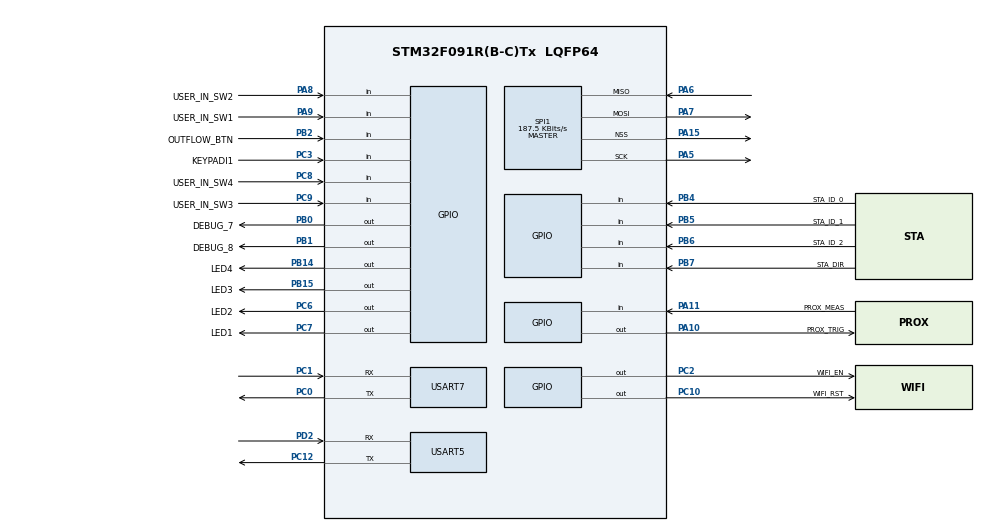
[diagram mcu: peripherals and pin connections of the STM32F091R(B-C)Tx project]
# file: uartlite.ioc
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Mcu.Family=STM32F0
Mcu.Name=STM32F091R(B-C)Tx
Mcu.Package=LQFP64
NVIC.TIM14_IRQn=true\:0\:0\:false\:false\:true\:true\:true\:true
NVIC.TIM2_IRQn=true\:0\:0\:false\:false\:true\:true\:true\:true
NVIC.TIM6_DAC_IRQn=true\:0\:0\:false\:false\:true\:true\:true\:true
NVIC.TIM7_IRQn=true\:0\:0\:false\:false\:true\:true\:true\:true
NVIC.USART3_8_IRQn=true\:0\:0\:false\:false\:true\:true\:true\:true
PA10.GPIO_Label=PROX_TRIG
PA10.Signal=GPIO_Output
PA11.GPIO_Label=PROX_MEAS
PA11.Signal=GPIO_Input
PA15.Mode=NSS_Signal_Hard_Output
PA15.Signal=SPI1_NSS
PA5.Mode=Full_Duplex_Master
PA5.Signal=SPI1_SCK
PA6.Mode=Full_Duplex_Master
PA6.Signal=SPI1_MISO
PA7.Mode=Full_Duplex_Master
PA7.Signal=SPI1_MOSI
PA8.GPIO_Label=USER_IN_SW2
PA8.Signal=GPIO_Input
PA9.GPIO_Label=USER_IN_SW1
PA9.Signal=GPIO_Input
PB0.GPIO_Label=DEBUG_7
PB0.Signal=GPIO_Output
PB1.GPIO_Label=DEBUG_8
PB1.Signal=GPIO_Output
PB14.GPIO_Label=LED4
PB14.Signal=GPIO_Output
PB15.GPIO_Label=LED3
PB15.Signal=GPIO_Output
PB2.GPIO_Label=OUTFLOW_BTN
PB2.Signal=GPIO_Input
PB4.GPIO_Label=STA_ID_0
PB4.GPIO_PuPd=GPIO_PULLDOWN
PB4.Signal=GPIO_Input
PB5.GPIO_Label=STA_ID_1
PB5.GPIO_PuPd=GPIO_PULLDOWN
PB5.Signal=GPIO_Input
PB6.GPIO_Label=STA_ID_2
PB6.GPIO_PuPd=GPIO_PULLDOWN
PB6.Signal=GPIO_Input
PB7.GPIO_Label=STA_DIR
PB7.GPIO_PuPd=GPIO_PULLDOWN
PB7.Signal=GPIO_Input
PC0.Mode=Asynchronous
PC0.Signal=USART7_TX
PC1.Mode=Asynchronous
PC1.Signal=USART7_RX
PC10.GPIO_Label=WIFI_RST
PC10.Signal=GPIO_Output
PC12.Mode=Asynchronous
PC12.Signal=USART5_TX
PC2.GPIO_Label=WIFI_EN
PC2.Signal=GPIO_Output
PC3.GPIO_Label=KEYPADI1
PC3.GPIO_PuPd=GPIO_PULLDOWN
PC3.Signal=GPIO_Input
PC6.GPIO_Label=LED2
PC6.Signal=GPIO_Output
PC7.GPIO_Label=LED1
PC7.Signal=GPIO_Output
PC8.GPIO_Label=USER_IN_SW4
PC8.Signal=GPIO_Input
PC9.GPIO_Label=USER_IN_SW3
PC9.Signal=GPIO_Input
PD2.Mode=Asynchronous
PD2.Signal=USART5_RX
ProjectManager.HeapSize=0x200
ProjectManager.StackSize=0x400
ProjectManager.TargetToolchain=STM32CubeIDE
RCC.AHBFreq_Value=48000000
RCC.APB1Freq_Value=48000000
RCC.APB1TimFreq_Value=48000000
RCC.HCLKFreq_Value=48000000
RCC.SYSCLKFreq_VALUE=48000000
RCC.SYSCLKSource=RCC_SYSCLKSOURCE_HSI48
SPI1.BaudRatePrescaler=SPI_BAUDRATEPRESCALER_256
SPI1.CalculateBaudRate=187.5 KBits/s
SPI1.DataSize=SPI_DATASIZE_10BIT
SPI1.Direction=SPI_DIRECTION_2LINES
SPI1.Mode=SPI_MODE_MASTER
SPI1.VirtualNSS=VM_NSSHARD
SPI1.VirtualType=VM_MASTER
TIM14.Period=999
TIM14.Prescaler=4799
TIM2.Period=4294967294
TIM2.Prescaler=47
TIM6.Period=999
TIM6.Prescaler=47
TIM7.Period=9999
TIM7.Prescaler=479
USART5.VirtualMode-Asynchronous=VM_ASYNC
USART7.VirtualMode=VM_ASYNC
VP_TIM14_VS_ClockSourceINT.Mode=Enable_Timer
VP_TIM2_VS_ClockSourceINT.Mode=Internal
VP_TIM6_VS_ClockSourceINT.Mode=Enable_Timer
VP_TIM7_VS_ClockSourceINT.Mode=Enable_Timer
board=custom

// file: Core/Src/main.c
/* USER CODE BEGIN Header */
/**
 ******************************************************************************
 * @file           : main.c
 * @brief          : Main program body
 ******************************************************************************
 * @attention
 *
 * Copyright (c) 2023 STMicroelectronics.
 * All rights reserved.
 *
 * This software is licensed under terms that can be found in the LICENSE file
 * in the root directory of this software component.
 * If no LICENSE file comes with this software, it is provided AS-IS.
 *
 ******************************************************************************
 */
/* USER CODE END Header */
#include "main.h"

/* USER CODE BEGIN Includes */
#include "ustimer.h"
#include "fifo.h"
#include "esp.h"
#include "string.h"
#include "uartstream.h"
#include "messages.h"
#include "asmutils.h"
#include "sonar.h"
#include "spidisp.h"
#include "keypadtimer.h"
#include "keypad.h"
#include "7segment.h"
/* USER CODE END Includes */

/* USER CODE BEGIN PTD */
fifo_t usart5_rx_fifo = { 0 };
fifo_t usart7_rx_fifo = { 0 };
volatile int uscounter = 0;
volatile uint8_t trigger_measurement_event = 0;
volatile uint16_t timeout_tenth_second_counter = 0;
volatile int rows = 0;
volatile uint8_t col = 0;
/* USER CODE END PTD */

/* USER CODE BEGIN PV */
char charbuff[1024] = { 0 };

/* USER CODE END PV */

void SystemClock_Config(void);
static void MX_GPIO_Init(void);
static void MX_USART5_UART_Init(void);
static void MX_SPI1_Init(void);
static void MX_TIM2_Init(void);
static void MX_TIM6_Init(void);
static void MX_TIM7_Init(void);
static void MX_USART7_UART_Init(void);
static void MX_TIM14_Init(void);

/* USER CODE BEGIN 0 */

int __io_putchar(int c) {
	while (!LL_USART_IsActiveFlag_TXE(USART5)) {
	}
	USART5->TDR = c;

	return c;
}

void sonar_demo() {
	sonar_init();
	while (1) {
		if (read_trigger_val() == SONAR_TRIGGERED) {
			spi_display2("Sonar Trig");
			nano_wait(500000000);
			spi_display2("          ");
		}
	}
}

void sonar_display_distance() {
	uint16_t distance;
	sonar_init();
	while (1) {
		if (trigger_measurement_event) {
			distance = sonar();
//			spi_display1("               ");
			sprintf(charbuff, "dist: %d\r\n", distance);
			writestring(charbuff, USART5);
			trigger_measurement_event = 0;
			nano_wait(200000000);
		}
	}
}

void esp_init_routine(esp_handle_t *esp_handle, int sta_id, int sister_mode) {
	sprintf(charbuff, "192.168.0.%d", sta_id + 2 + sister_mode);
	esp_setup_join("myap", "12345678", esp_handle, charbuff);
	writestring("Connect success!!\r\n", USART5);

	esp_init_udp_station("192.168.0.1", 8080, esp_handle, PTS_AM_UDP_LINK);
	if (sister_mode == 0) {
		esp_new_udp_listen(5000, esp_handle, PTS_SISTER_UDP_LINK);
	} else {
		sprintf(charbuff, "192.168.0.%d", sta_id + 2);
		esp_new_udp_station(charbuff, 5000, esp_handle, PTS_SISTER_UDP_LINK);
	}
}

void pipe_wifi_to_debug() {
	char c;
	LL_GPIO_ResetOutputPin(WIFI_EN_GPIO_Port, WIFI_EN_Pin);
	LL_GPIO_ResetOutputPin(WIFI_RST_GPIO_Port, WIFI_RST_Pin);
	LL_GPIO_ResetOutputPin(DEBUG_7_GPIO_Port, DEBUG_7_Pin);
	LL_GPIO_SetOutputPin(WIFI_EN_GPIO_Port, WIFI_EN_Pin);
	LL_GPIO_SetOutputPin(WIFI_RST_GPIO_Port, WIFI_RST_Pin);
	writestring("Testing 123\r\n", USART5);
	while (1) {
		if (USART5->ISR & USART_ISR_RXNE) {
			c = USART5->RDR;
			putcharusart(c, USART7);
//			putcharusart(c, USART5);
		}
		if (USART7->ISR & USART_ISR_RXNE) {
			putcharusart(USART7->RDR, USART5);
		}
	}
}

/* USER CODE END 0 */

int main(void) {

	/* MCU Configuration--------------------------------------------------------*/

	/* Reset of all peripherals, Initializes the Flash interface and the Systick. */
	LL_APB1_GRP2_EnableClock(LL_APB1_GRP2_PERIPH_SYSCFG);
	LL_APB1_GRP1_EnableClock(LL_APB1_GRP1_PERIPH_PWR);

	/* SysTick_IRQn interrupt configuration */
	NVIC_SetPriority(SysTick_IRQn, 3);

	/* Configure the system clock */
	SystemClock_Config();

	/* Initialize all configured peripherals */
	MX_GPIO_Init();
	MX_USART5_UART_Init();
	MX_SPI1_Init();
	MX_TIM2_Init();
	MX_TIM6_Init();
	MX_TIM7_Init();
	MX_USART7_UART_Init();
	MX_TIM14_Init();
	/* USER CODE BEGIN 2 */

	uint8_t station_id;
	uint8_t direction_switch_pos;

	esp_handle_t esp_handle;
	esp_handle.debug = USART5;
	esp_handle.fifo = &usart7_rx_fifo;
	esp_handle.usartx = USART7;
	message_t *espmsg;

	direction_switch_pos =
			LL_GPIO_IsInputPinSet(USER_IN_SW1_GPIO_Port, USER_IN_SW1_Pin) ?
					SWITCH_DIR_IN : SWITCH_DIR_OUT;
	station_id = (
			LL_GPIO_IsInputPinSet(USER_IN_SW2_GPIO_Port, USER_IN_SW2_Pin) ?
					0x4 : 0x0)
			| (LL_GPIO_IsInputPinSet(USER_IN_SW3_GPIO_Port, USER_IN_SW3_Pin) ?
					0x2 : 0x0)
			| (LL_GPIO_IsInputPinSet(USER_IN_SW4_GPIO_Port, USER_IN_SW4_Pin) ?
					0x1 : 0x0);
	sprintf(charbuff, "Station ID: %d, Dir: %d\r\n", station_id,
			direction_switch_pos);
	writestring(charbuff, USART5);
	station_id = 0;
	direction_switch_pos = 0;
	int str_length = 0;
//  	 NVIC_SetPriority(USART3_8_IRQn, 0);
//  	 NVIC_SetPriority(TIM7_IRQn, 1);
	LL_GPIO_ResetOutputPin(WIFI_EN_GPIO_Port, WIFI_EN_Pin);
	LL_GPIO_SetOutputPin(WIFI_EN_GPIO_Port, WIFI_EN_Pin);

//	LL_USART_EnableIT_RXNE(USART5);
	LL_USART_EnableIT_RXNE(USART7);
//
//	setup_esp(&esp_handle, "myap", "12345678", "192.168.0.1");
//	LL_USART_DisableIT_RXNE(USART7);
//	pipe_wifi_to_debug();

	LL_TIM_EnableIT_UPDATE(TIM7);
	LL_TIM_EnableIT_UPDATE(TIM14);

	int num_spots;
	int sonar_read;

#ifdef ESP_STA

//  while (1) {
//
//  		sprintf(charbuff, "Got distance: %d\r\n", sonar());
//  		writestring(charbuff, USART5);
//  		nano_wait(100000000);
//  	}
	//spi_init_oled();
	//spi_display1("Hello world");
//  spi_display2("Distance: ");
	//writestring("Bootup start!!\r\n", USART5);

//  sonar_demo();
//  sonar_display_distance();

	esp_init_routine(&esp_handle, 0, 0);

	//spi_display1("                    ");
	//spi_display1("Wifi Connected");
	espmsg = get_message();
	espmsg->module_id = 2;
	espmsg->command = API_PING;
	esp_send_data((char*) espmsg, sizeof(espmsg), &esp_handle, PTS_AM_UDP_LINK);
	writestring("Main: sent ping\r\n", USART5);

//
//	esp_send_data("hello world\r\n", sizeof("hello world\r\n"), &esp_handle, PTS_SISTER_UDP_LINK);
//	writestring("Main: sent to sister station\r\n", USART5);

	//writestring(
	//		"Pick P for ping, I for inflow, O for outflow, followed by <CR><LF>\r\n",
	//		USART5);
	sonar_init();
	//spi_display2("not triggered");
//    esp_send_data("Hello World\r\n", strlen("Hello World\r\n"),  &esp_handle, 0);
//    while (esp_debug_response( &esp_handle) != ESP_SEND_OK);
//    writestring("Send success!!\r\n", USART5);
#endif

	/* USER CODE END 2 */

	/* Infinite loop */
	/* USER CODE BEGIN WHILE */
	while (1) {

		if (LL_TIM_IsEnabledCounter(TIM14)) {
			if (timeout_tenth_second_counter > MAX_DELAY_SISTER_TRIGGER) {
				LL_TIM_DisableCounter(TIM14); // boo hoo, we timed out.
				writestring("Timed out on detection event\r\n", USART5);
			}
		}

		if (!fifo_empty(esp_handle.fifo)) {
			switch (esp_debug_response(&esp_handle)) {
			case ESP_DATA:
				espmsg = (message_t*) esp_incoming.buffer;
				//writestring("Main: Got ESP Data\r\n", USART5);
				//debug_message(espmsg, charbuff);
				//writestring(charbuff, USART5);

				switch (espmsg->command) {
				case API_CAR_DETECT:
					switch (espmsg->body.direction) {
					case API_DIRECTION_IN:
						num_spots--;
						num_spots = num_spots < 0 ? 0 : num_spots;
						break;
					case API_DIRECTION_OUT:
						num_spots++;
						break;
					default:
						break;
					}
					break;
				case API_PING:
					writestring("Got ping from station\r\n", USART5);
					break;
				case API_ACK:
					// stop and reset the timer

					LL_TIM_DisableCounter(TIM14);

					writestring("Got ack from station\r\n", USART5);
					break;
				case API_SISTER_TRIGGER:
					writestring("Got sister trigger from station\r\n", USART5);

					if (LL_TIM_IsEnabledCounter(TIM14)) {
						// is timer running? if so, check trigger status
						if (peek_trigger_val()) {
							// stop timer, reset timer, ack the trigger, transmit flow event
							LL_TIM_DisableCounter(TIM14);

							// ack the trigger
							espmsg->module_id = station_id;
							espmsg->command = API_ACK;
							esp_send_data((char*) espmsg, sizeof(espmsg),
									&esp_handle,
									PTS_SISTER_UDP_LINK);
							writestring("Main: acked the sister trigger\r\n",
							USART5);
							while (esp_debug_response(&esp_handle)
									!= ESP_SEND_OK)
								;

							// transmit flow event
							espmsg->module_id = station_id;
							espmsg->command = API_CAR_DETECT;
							espmsg->body.direction =
									direction_switch_pos == SWITCH_DIR_IN ?
											API_DIRECTION_IN :
											API_DIRECTION_OUT;
							esp_send_data((char*) espmsg, sizeof(espmsg),
									&esp_handle,
									PTS_AM_UDP_LINK);
							writestring("Main: sent flow event\r\n", USART5);
							while (esp_debug_response(&esp_handle)
									!= ESP_SEND_OK)
								;
							writestring("Send success!!\r\n", USART5);
						}
					}

					break;
				default:
					break;
				}

				break;
			case ESP_DISCONNECT:

				esp_init_routine(&esp_handle, 0, 0);

				break;
			default:
				break;
			}

		}

		if (trigger_measurement_event) {

			sonar_read = sonar();
			sprintf(charbuff, "Sonar triggered, dist: %d\r\n", sonar_read);
			writestring(charbuff, USART5);
			trigger_measurement_event = 0;
		}

		if (read_trigger_val() == SONAR_TRIGGERED) {
			timeout_tenth_second_counter = 0; // zero out the timeout
			LL_TIM_EnableCounter(TIM14); // enable counter

			espmsg->module_id = station_id;
			espmsg->command = API_SISTER_TRIGGER;
			espmsg->body.placement = API_PLACEMENT_REAR;

			esp_send_data((char*) espmsg, sizeof(espmsg), &esp_handle,
					PTS_SISTER_UDP_LINK);
			writestring("Main: sent detection to sister\r\n", USART5);
			while (esp_debug_response(&esp_handle) != ESP_SEND_OK)
				;
			writestring("Send success!!\r\n", USART5);

		}

		/* USER CODE END WHILE */

		/* USER CODE BEGIN 3 */

//	  esp_debug_response(&usart7_rx_fifo, USART5);
	}
	/* USER CODE END 3 */
}

void SystemClock_Config(void) {
	LL_FLASH_SetLatency(LL_FLASH_LATENCY_1);
	while (LL_FLASH_GetLatency() != LL_FLASH_LATENCY_1) {
	}
	LL_RCC_HSI48_Enable();

	/* Wait till HSI48 is ready */
	while (LL_RCC_HSI48_IsReady() != 1) {

	}
	LL_RCC_SetAHBPrescaler(LL_RCC_SYSCLK_DIV_1);
	LL_RCC_SetAPB1Prescaler(LL_RCC_APB1_DIV_1);
	LL_RCC_SetSysClkSource(LL_RCC_SYS_CLKSOURCE_HSI48);

	/* Wait till System clock is ready */
	while (LL_RCC_GetSysClkSource() != LL_RCC_SYS_CLKSOURCE_STATUS_HSI48) {

	}
	LL_Init1msTick(48000000);
	LL_SetSystemCoreClock(48000000);
}

static void MX_SPI1_Init(void) {

	LL_SPI_InitTypeDef SPI_InitStruct = { 0 };

	LL_GPIO_InitTypeDef GPIO_InitStruct = { 0 };

	/* Peripheral clock enable */
	LL_APB1_GRP2_EnableClock(LL_APB1_GRP2_PERIPH_SPI1);

	LL_AHB1_GRP1_EnableClock(LL_AHB1_GRP1_PERIPH_GPIOA);
	/**SPI1 GPIO Configuration
	 PA5   ------> SPI1_SCK
	 PA6   ------> SPI1_MISO
	 PA7   ------> SPI1_MOSI
	 PA15   ------> SPI1_NSS
	 */
	GPIO_InitStruct.Pin = LL_GPIO_PIN_5;
	GPIO_InitStruct.Mode = LL_GPIO_MODE_ALTERNATE;
	GPIO_InitStruct.Speed = LL_GPIO_SPEED_FREQ_HIGH;
	GPIO_InitStruct.OutputType = LL_GPIO_OUTPUT_PUSHPULL;
	GPIO_InitStruct.Pull = LL_GPIO_PULL_NO;
	GPIO_InitStruct.Alternate = LL_GPIO_AF_0;
	LL_GPIO_Init(GPIOA, &GPIO_InitStruct);

	GPIO_InitStruct.Pin = LL_GPIO_PIN_6;
	GPIO_InitStruct.Mode = LL_GPIO_MODE_ALTERNATE;
	GPIO_InitStruct.Speed = LL_GPIO_SPEED_FREQ_HIGH;
	GPIO_InitStruct.OutputType = LL_GPIO_OUTPUT_PUSHPULL;
	GPIO_InitStruct.Pull = LL_GPIO_PULL_NO;
	GPIO_InitStruct.Alternate = LL_GPIO_AF_0;
	LL_GPIO_Init(GPIOA, &GPIO_InitStruct);

	GPIO_InitStruct.Pin = LL_GPIO_PIN_7;
	GPIO_InitStruct.Mode = LL_GPIO_MODE_ALTERNATE;
	GPIO_InitStruct.Speed = LL_GPIO_SPEED_FREQ_HIGH;
	GPIO_InitStruct.OutputType = LL_GPIO_OUTPUT_PUSHPULL;
	GPIO_InitStruct.Pull = LL_GPIO_PULL_NO;
	GPIO_InitStruct.Alternate = LL_GPIO_AF_0;
	LL_GPIO_Init(GPIOA, &GPIO_InitStruct);

	GPIO_InitStruct.Pin = LL_GPIO_PIN_15;
	GPIO_InitStruct.Mode = LL_GPIO_MODE_ALTERNATE;
	GPIO_InitStruct.Speed = LL_GPIO_SPEED_FREQ_HIGH;
	GPIO_InitStruct.OutputType = LL_GPIO_OUTPUT_PUSHPULL;
	GPIO_InitStruct.Pull = LL_GPIO_PULL_NO;
	GPIO_InitStruct.Alternate = LL_GPIO_AF_0;
	LL_GPIO_Init(GPIOA, &GPIO_InitStruct);

	/* USER CODE BEGIN SPI1_Init 1 */
//
	/* USER CODE END SPI1_Init 1 */
	/* SPI1 parameter configuration*/
	SPI_InitStruct.TransferDirection = LL_SPI_FULL_DUPLEX;
	SPI_InitStruct.Mode = LL_SPI_MODE_MASTER;
	SPI_InitStruct.DataWidth = LL_SPI_DATAWIDTH_10BIT;
	SPI_InitStruct.ClockPolarity = LL_SPI_POLARITY_LOW;
	SPI_InitStruct.ClockPhase = LL_SPI_PHASE_1EDGE;
	SPI_InitStruct.NSS = LL_SPI_NSS_HARD_OUTPUT;
	SPI_InitStruct.BaudRate = LL_SPI_BAUDRATEPRESCALER_DIV256;
	SPI_InitStruct.BitOrder = LL_SPI_MSB_FIRST;
	SPI_InitStruct.CRCCalculation = LL_SPI_CRCCALCULATION_DISABLE;
	SPI_InitStruct.CRCPoly = 7;
	LL_SPI_Init(SPI1, &SPI_InitStruct);
	LL_SPI_SetStandard(SPI1, LL_SPI_PROTOCOL_MOTOROLA);
	LL_SPI_EnableNSSPulseMgt(SPI1);
	/* USER CODE BEGIN SPI1_Init 2 */
//	SPI1->CR1 &= ~SPI_CR1_SPE;
//	    RCC->AHBENR |= RCC_AHBENR_GPIOAEN;
//	    RCC->APB2ENR |= RCC_APB2ENR_SPI1EN;
//
//	    // set pins PA15,PA5,PA6,PA7 for NSS,SCK,MISO,MOSI
//	    GPIOA->MODER &= ~0xc000fc00;
//	    GPIOA->MODER |= 0x8000a800;
//
//	    GPIOA->AFR[0] &= ~0xfff00000;
//	    GPIOA->AFR[1] &= ~0xf0000000;
//	    SPI1->CR1 |= SPI_CR1_BR;
//
//	    SPI1->CR1 |= SPI_CR1_MSTR;
//
//	    SPI1->CR2 = SPI_CR2_SSOE | SPI_CR2_NSSP | SPI_CR2_DS_0 | SPI_CR2_DS_3;
	SPI1->CR1 |= SPI_CR1_SPE;

	/* USER CODE END SPI1_Init 2 */

}

static void MX_TIM2_Init(void) {

	LL_TIM_InitTypeDef TIM_InitStruct = { 0 };

	/* Peripheral clock enable */
	LL_APB1_GRP1_EnableClock(LL_APB1_GRP1_PERIPH_TIM2);

	/* TIM2 interrupt Init */
	NVIC_SetPriority(TIM2_IRQn, 0);
	NVIC_EnableIRQ(TIM2_IRQn);

	TIM_InitStruct.Prescaler = 47;
	TIM_InitStruct.CounterMode = LL_TIM_COUNTERMODE_UP;
	TIM_InitStruct.Autoreload = 4294967294;
	TIM_InitStruct.ClockDivision = LL_TIM_CLOCKDIVISION_DIV1;
	LL_TIM_Init(TIM2, &TIM_InitStruct);
	LL_TIM_DisableARRPreload(TIM2);
	LL_TIM_SetClockSource(TIM2, LL_TIM_CLOCKSOURCE_INTERNAL);
	LL_TIM_SetTriggerOutput(TIM2, LL_TIM_TRGO_RESET);
	LL_TIM_DisableMasterSlaveMode(TIM2);

}

static void MX_TIM6_Init(void) {

	LL_TIM_InitTypeDef TIM_InitStruct = { 0 };

	/* Peripheral clock enable */
	LL_APB1_GRP1_EnableClock(LL_APB1_GRP1_PERIPH_TIM6);

	/* TIM6 interrupt Init */
	NVIC_SetPriority(TIM6_DAC_IRQn, 0);
	NVIC_EnableIRQ(TIM6_DAC_IRQn);

	TIM_InitStruct.Prescaler = 47;
	TIM_InitStruct.CounterMode = LL_TIM_COUNTERMODE_UP;
	TIM_InitStruct.Autoreload = 999;
	LL_TIM_Init(TIM6, &TIM_InitStruct);
	LL_TIM_DisableARRPreload(TIM6);
	LL_TIM_SetTriggerOutput(TIM6, LL_TIM_TRGO_RESET);
	LL_TIM_DisableMasterSlaveMode(TIM6);

}

static void MX_TIM7_Init(void) {

	LL_TIM_InitTypeDef TIM_InitStruct = { 0 };

	/* Peripheral clock enable */
	LL_APB1_GRP1_EnableClock(LL_APB1_GRP1_PERIPH_TIM7);

	/* TIM7 interrupt Init */
	NVIC_SetPriority(TIM7_IRQn, 0);
	NVIC_EnableIRQ(TIM7_IRQn);

	TIM_InitStruct.Prescaler = 479;
	TIM_InitStruct.CounterMode = LL_TIM_COUNTERMODE_UP;
	TIM_InitStruct.Autoreload = 9999;
	LL_TIM_Init(TIM7, &TIM_InitStruct);
	LL_TIM_DisableARRPreload(TIM7);
	LL_TIM_SetTriggerOutput(TIM7, LL_TIM_TRGO_RESET);
	LL_TIM_DisableMasterSlaveMode(TIM7);

}

static void MX_TIM14_Init(void) {

	LL_TIM_InitTypeDef TIM_InitStruct = { 0 };

	/* Peripheral clock enable */
	LL_APB1_GRP1_EnableClock(LL_APB1_GRP1_PERIPH_TIM14);

	/* TIM14 interrupt Init */
	NVIC_SetPriority(TIM14_IRQn, 0);
	NVIC_EnableIRQ(TIM14_IRQn);

	TIM_InitStruct.Prescaler = 4799;
	TIM_InitStruct.CounterMode = LL_TIM_COUNTERMODE_UP;
	TIM_InitStruct.Autoreload = 999;
	TIM_InitStruct.ClockDivision = LL_TIM_CLOCKDIVISION_DIV1;
	LL_TIM_Init(TIM14, &TIM_InitStruct);
	LL_TIM_DisableARRPreload(TIM14);

}

static void MX_USART5_UART_Init(void) {

	LL_USART_InitTypeDef USART_InitStruct = { 0 };

	LL_GPIO_InitTypeDef GPIO_InitStruct = { 0 };

	/* Peripheral clock enable */
	LL_APB1_GRP1_EnableClock(LL_APB1_GRP1_PERIPH_USART5);

	LL_AHB1_GRP1_EnableClock(LL_AHB1_GRP1_PERIPH_GPIOC);
	LL_AHB1_GRP1_EnableClock(LL_AHB1_GRP1_PERIPH_GPIOD);
	/**USART5 GPIO Configuration
	 PC12   ------> USART5_TX
	 PD2   ------> USART5_RX
	 */
	GPIO_InitStruct.Pin = LL_GPIO_PIN_12;
	GPIO_InitStruct.Mode = LL_GPIO_MODE_ALTERNATE;
	GPIO_InitStruct.Speed = LL_GPIO_SPEED_FREQ_HIGH;
	GPIO_InitStruct.OutputType = LL_GPIO_OUTPUT_PUSHPULL;
	GPIO_InitStruct.Pull = LL_GPIO_PULL_NO;
	GPIO_InitStruct.Alternate = LL_GPIO_AF_2;
	LL_GPIO_Init(GPIOC, &GPIO_InitStruct);

	GPIO_InitStruct.Pin = LL_GPIO_PIN_2;
	GPIO_InitStruct.Mode = LL_GPIO_MODE_ALTERNATE;
	GPIO_InitStruct.Speed = LL_GPIO_SPEED_FREQ_HIGH;
	GPIO_InitStruct.OutputType = LL_GPIO_OUTPUT_PUSHPULL;
	GPIO_InitStruct.Pull = LL_GPIO_PULL_NO;
	GPIO_InitStruct.Alternate = LL_GPIO_AF_2;
	LL_GPIO_Init(GPIOD, &GPIO_InitStruct);

	/* USART5 interrupt Init */
	NVIC_SetPriority(USART3_8_IRQn, 0);
	NVIC_EnableIRQ(USART3_8_IRQn);

	USART_InitStruct.BaudRate = 115200;
	USART_InitStruct.DataWidth = LL_USART_DATAWIDTH_8B;
	USART_InitStruct.StopBits = LL_USART_STOPBITS_1;
	USART_InitStruct.Parity = LL_USART_PARITY_NONE;
	USART_InitStruct.TransferDirection = LL_USART_DIRECTION_TX_RX;
	USART_InitStruct.HardwareFlowControl = LL_USART_HWCONTROL_NONE;
	USART_InitStruct.OverSampling = LL_USART_OVERSAMPLING_16;
	LL_USART_Init(USART5, &USART_InitStruct);
	LL_USART_DisableIT_CTS(USART5);
	LL_USART_ConfigAsyncMode(USART5);
	LL_USART_Enable(USART5);

}

static void MX_USART7_UART_Init(void) {

	LL_USART_InitTypeDef USART_InitStruct = { 0 };

	LL_GPIO_InitTypeDef GPIO_InitStruct = { 0 };

	/* Peripheral clock enable */
	LL_APB1_GRP2_EnableClock(LL_APB1_GRP2_PERIPH_USART7);

	LL_AHB1_GRP1_EnableClock(LL_AHB1_GRP1_PERIPH_GPIOC);
	/**USART7 GPIO Configuration
	 PC0   ------> USART7_TX
	 PC1   ------> USART7_RX
	 */
	GPIO_InitStruct.Pin = LL_GPIO_PIN_0;
	GPIO_InitStruct.Mode = LL_GPIO_MODE_ALTERNATE;
	GPIO_InitStruct.Speed = LL_GPIO_SPEED_FREQ_HIGH;
	GPIO_InitStruct.OutputType = LL_GPIO_OUTPUT_PUSHPULL;
	GPIO_InitStruct.Pull = LL_GPIO_PULL_NO;
	GPIO_InitStruct.Alternate = LL_GPIO_AF_1;
	LL_GPIO_Init(GPIOC, &GPIO_InitStruct);

	GPIO_InitStruct.Pin = LL_GPIO_PIN_1;
	GPIO_InitStruct.Mode = LL_GPIO_MODE_ALTERNATE;
	GPIO_InitStruct.Speed = LL_GPIO_SPEED_FREQ_HIGH;
	GPIO_InitStruct.OutputType = LL_GPIO_OUTPUT_PUSHPULL;
	GPIO_InitStruct.Pull = LL_GPIO_PULL_NO;
	GPIO_InitStruct.Alternate = LL_GPIO_AF_1;
	LL_GPIO_Init(GPIOC, &GPIO_InitStruct);

	/* USART7 interrupt Init */
	NVIC_SetPriority(USART3_8_IRQn, 0);
	NVIC_EnableIRQ(USART3_8_IRQn);

	USART_InitStruct.BaudRate = 115200;
	USART_InitStruct.DataWidth = LL_USART_DATAWIDTH_8B;
	USART_InitStruct.StopBits = LL_USART_STOPBITS_1;
	USART_InitStruct.Parity = LL_USART_PARITY_NONE;
	USART_InitStruct.TransferDirection = LL_USART_DIRECTION_TX_RX;
	USART_InitStruct.HardwareFlowControl = LL_USART_HWCONTROL_NONE;
	USART_InitStruct.OverSampling = LL_USART_OVERSAMPLING_16;
	LL_USART_Init(USART7, &USART_InitStruct);
	LL_USART_DisableIT_CTS(USART7);
	LL_USART_ConfigAsyncMode(USART7);
	LL_USART_Enable(USART7);

}

static void MX_GPIO_Init(void) {
	LL_GPIO_InitTypeDef GPIO_InitStruct = { 0 };

	/* GPIO Ports Clock Enable */
	LL_AHB1_GRP1_EnableClock(LL_AHB1_GRP1_PERIPH_GPIOC);
	LL_AHB1_GRP1_EnableClock(LL_AHB1_GRP1_PERIPH_GPIOA);
	LL_AHB1_GRP1_EnableClock(LL_AHB1_GRP1_PERIPH_GPIOB);
	LL_AHB1_GRP1_EnableClock(LL_AHB1_GRP1_PERIPH_GPIOD);

	/**/
	LL_GPIO_ResetOutputPin(WIFI_EN_GPIO_Port, WIFI_EN_Pin);

	/**/
	LL_GPIO_ResetOutputPin(DEBUG_7_GPIO_Port, DEBUG_7_Pin);

	/**/
	LL_GPIO_ResetOutputPin(DEBUG_8_GPIO_Port, DEBUG_8_Pin);

	/**/
	LL_GPIO_ResetOutputPin(KEYPADO0_GPIO_Port, KEYPADO0_Pin);

	/**/
	LL_GPIO_ResetOutputPin(KEYPADO1_GPIO_Port, KEYPADO1_Pin);

	/**/
	LL_GPIO_ResetOutputPin(PROX_TRIG_GPIO_Port, PROX_TRIG_Pin);

	/**/
	LL_GPIO_ResetOutputPin(WIFI_RST_GPIO_Port, WIFI_RST_Pin);

	/**/
	GPIO_InitStruct.Pin = WIFI_EN_Pin;
	GPIO_InitStruct.Mode = LL_GPIO_MODE_OUTPUT;
	GPIO_InitStruct.Speed = LL_GPIO_SPEED_FREQ_LOW;
	GPIO_InitStruct.OutputType = LL_GPIO_OUTPUT_PUSHPULL;
	GPIO_InitStruct.Pull = LL_GPIO_PULL_NO;
	LL_GPIO_Init(WIFI_EN_GPIO_Port, &GPIO_InitStruct);

	/**/
	GPIO_InitStruct.Pin = KEYPADI1_Pin;
	GPIO_InitStruct.Mode = LL_GPIO_MODE_INPUT;
	GPIO_InitStruct.Pull = LL_GPIO_PULL_DOWN;
	LL_GPIO_Init(KEYPADI1_GPIO_Port, &GPIO_InitStruct);

	/**/
	GPIO_InitStruct.Pin = KEYPADI2_Pin;
	GPIO_InitStruct.Mode = LL_GPIO_MODE_INPUT;
	GPIO_InitStruct.Pull = LL_GPIO_PULL_DOWN;
	LL_GPIO_Init(KEYPADI2_GPIO_Port, &GPIO_InitStruct);

	/**/
	GPIO_InitStruct.Pin = KEYPADI3_Pin;
	GPIO_InitStruct.Mode = LL_GPIO_MODE_INPUT;
	GPIO_InitStruct.Pull = LL_GPIO_PULL_DOWN;
	LL_GPIO_Init(KEYPADI3_GPIO_Port, &GPIO_InitStruct);

	/**/
	GPIO_InitStruct.Pin = DEBUG_7_Pin;
	GPIO_InitStruct.Mode = LL_GPIO_MODE_OUTPUT;
	GPIO_InitStruct.Speed = LL_GPIO_SPEED_FREQ_LOW;
	GPIO_InitStruct.OutputType = LL_GPIO_OUTPUT_PUSHPULL;
	GPIO_InitStruct.Pull = LL_GPIO_PULL_NO;
	LL_GPIO_Init(DEBUG_7_GPIO_Port, &GPIO_InitStruct);

	/**/
	GPIO_InitStruct.Pin = DEBUG_8_Pin;
	GPIO_InitStruct.Mode = LL_GPIO_MODE_OUTPUT;
	GPIO_InitStruct.Speed = LL_GPIO_SPEED_FREQ_LOW;
	GPIO_InitStruct.OutputType = LL_GPIO_OUTPUT_PUSHPULL;
	GPIO_InitStruct.Pull = LL_GPIO_PULL_NO;
	LL_GPIO_Init(DEBUG_8_GPIO_Port, &GPIO_InitStruct);

	/**/
	GPIO_InitStruct.Pin = OUTFLOW_BTN_Pin;
	GPIO_InitStruct.Mode = LL_GPIO_MODE_INPUT;
	GPIO_InitStruct.Pull = LL_GPIO_PULL_NO;
	LL_GPIO_Init(OUTFLOW_BTN_GPIO_Port, &GPIO_InitStruct);

	/**/
	GPIO_InitStruct.Pin = KEYPADO0_Pin;
	GPIO_InitStruct.Mode = LL_GPIO_MODE_OUTPUT;
	GPIO_InitStruct.Speed = LL_GPIO_SPEED_FREQ_LOW;
	GPIO_InitStruct.OutputType = LL_GPIO_OUTPUT_PUSHPULL;
	GPIO_InitStruct.Pull = LL_GPIO_PULL_NO;
	LL_GPIO_Init(KEYPADO0_GPIO_Port, &GPIO_InitStruct);

	/**/
	GPIO_InitStruct.Pin = KEYPADO1_Pin;
	GPIO_InitStruct.Mode = LL_GPIO_MODE_OUTPUT;
	GPIO_InitStruct.Speed = LL_GPIO_SPEED_FREQ_LOW;
	GPIO_InitStruct.OutputType = LL_GPIO_OUTPUT_PUSHPULL;
	GPIO_InitStruct.Pull = LL_GPIO_PULL_NO;
	LL_GPIO_Init(KEYPADO1_GPIO_Port, &GPIO_InitStruct);

	/**/
	GPIO_InitStruct.Pin = USER_IN_SW4_Pin;
	GPIO_InitStruct.Mode = LL_GPIO_MODE_INPUT;
	GPIO_InitStruct.Pull = LL_GPIO_PULL_NO;
	LL_GPIO_Init(USER_IN_SW4_GPIO_Port, &GPIO_InitStruct);

	/**/
	GPIO_InitStruct.Pin = USER_IN_SW3_Pin;
	GPIO_InitStruct.Mode = LL_GPIO_MODE_INPUT;
	GPIO_InitStruct.Pull = LL_GPIO_PULL_NO;
	LL_GPIO_Init(USER_IN_SW3_GPIO_Port, &GPIO_InitStruct);

	/**/
	GPIO_InitStruct.Pin = USER_IN_SW2_Pin;
	GPIO_InitStruct.Mode = LL_GPIO_MODE_INPUT;
	GPIO_InitStruct.Pull = LL_GPIO_PULL_NO;
	LL_GPIO_Init(USER_IN_SW2_GPIO_Port, &GPIO_InitStruct);

	/**/
	GPIO_InitStruct.Pin = USER_IN_SW1_Pin;
	GPIO_InitStruct.Mode = LL_GPIO_MODE_INPUT;
	GPIO_InitStruct.Pull = LL_GPIO_PULL_NO;
	LL_GPIO_Init(USER_IN_SW1_GPIO_Port, &GPIO_InitStruct);

	/**/
	GPIO_InitStruct.Pin = PROX_TRIG_Pin;
	GPIO_InitStruct.Mode = LL_GPIO_MODE_OUTPUT;
	GPIO_InitStruct.Speed = LL_GPIO_SPEED_FREQ_LOW;
	GPIO_InitStruct.OutputType = LL_GPIO_OUTPUT_PUSHPULL;
	GPIO_InitStruct.Pull = LL_GPIO_PULL_NO;
	LL_GPIO_Init(PROX_TRIG_GPIO_Port, &GPIO_InitStruct);

	/**/
	GPIO_InitStruct.Pin = PROX_MEAS_Pin;
	GPIO_InitStruct.Mode = LL_GPIO_MODE_INPUT;
	GPIO_InitStruct.Pull = LL_GPIO_PULL_NO;
	LL_GPIO_Init(PROX_MEAS_GPIO_Port, &GPIO_InitStruct);

	/**/
	GPIO_InitStruct.Pin = WIFI_RST_Pin;
	GPIO_InitStruct.Mode = LL_GPIO_MODE_OUTPUT;
	GPIO_InitStruct.Speed = LL_GPIO_SPEED_FREQ_LOW;
	GPIO_InitStruct.OutputType = LL_GPIO_OUTPUT_PUSHPULL;
	GPIO_InitStruct.Pull = LL_GPIO_PULL_NO;
	LL_GPIO_Init(WIFI_RST_GPIO_Port, &GPIO_InitStruct);

	/**/
	GPIO_InitStruct.Pin = STA_ID_0_Pin;
	GPIO_InitStruct.Mode = LL_GPIO_MODE_INPUT;
	GPIO_InitStruct.Pull = LL_GPIO_PULL_DOWN;
	LL_GPIO_Init(STA_ID_0_GPIO_Port, &GPIO_InitStruct);

	/**/
	GPIO_InitStruct.Pin = STA_ID_1_Pin;
	GPIO_InitStruct.Mode = LL_GPIO_MODE_INPUT;
	GPIO_InitStruct.Pull = LL_GPIO_PULL_DOWN;
	LL_GPIO_Init(STA_ID_1_GPIO_Port, &GPIO_InitStruct);

	/**/
	GPIO_InitStruct.Pin = STA_ID_2_Pin;
	GPIO_InitStruct.Mode = LL_GPIO_MODE_INPUT;
	GPIO_InitStruct.Pull = LL_GPIO_PULL_DOWN;
	LL_GPIO_Init(STA_ID_2_GPIO_Port, &GPIO_InitStruct);

	/**/
	GPIO_InitStruct.Pin = STA_DIR_Pin;
	GPIO_InitStruct.Mode = LL_GPIO_MODE_INPUT;
	GPIO_InitStruct.Pull = LL_GPIO_PULL_DOWN;
	LL_GPIO_Init(STA_DIR_GPIO_Port, &GPIO_InitStruct);

}

void Error_Handler(void) {
	__disable_irq();
	while (1) {
	}
}
